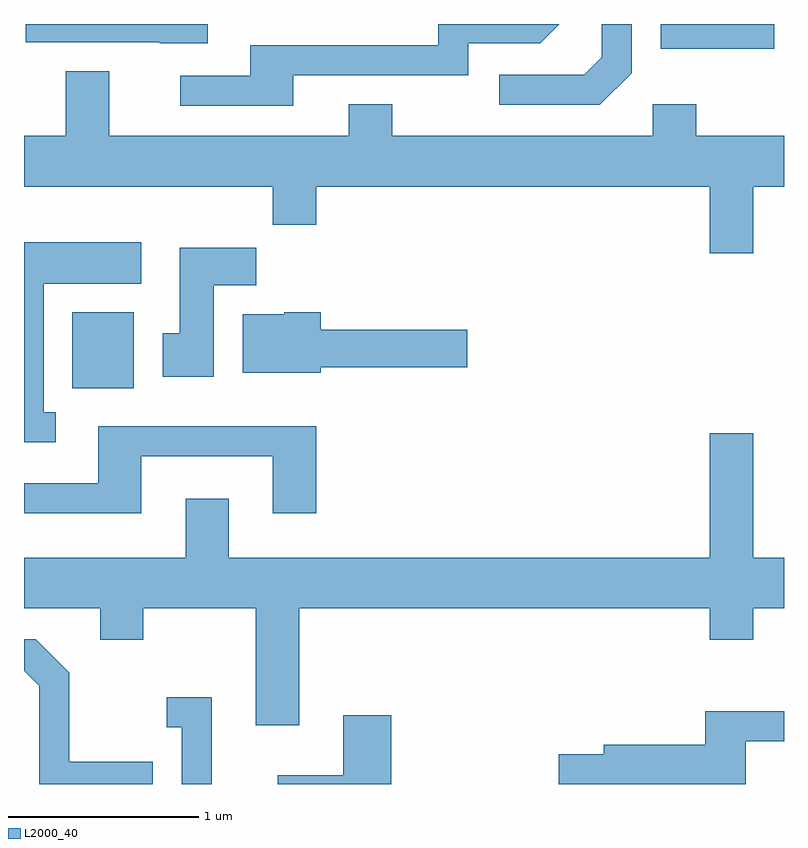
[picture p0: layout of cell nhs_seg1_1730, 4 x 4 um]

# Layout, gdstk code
import gdstk
lib = gdstk.Library(unit=1e-6, precision=1e-09)
def R(c, l, rs):  # rectangles x0, y0, x1, y1
    for r in rs: c.add(gdstk.rectangle(r[:2], r[2:], *l))
def P(c, l, *ps):  # polygons
    for p in ps: c.add(gdstk.Polygon(p, *l))
L2000_40 = (2000, 40)

nhs_seg1_1730 = lib.new_cell('nhs_seg1_1730')
R(nhs_seg1_1730, L2000_40, [(237.866,951.796,238.189,952.194), (240.961,953.581,241.559,953.712)])
P(nhs_seg1_1730, L2000_40, [(240.809,953.454),(240.809,953.712),(240.651,953.712),(240.651,953.537),(240.559,953.444),(240.113,953.444),(240.113,953.286),(240.642,953.286)],
  [(239.029,953.441),(239.949,953.441),(239.949,953.611),(240.327,953.611),(240.427,953.712),(239.791,953.712),(239.791,953.599),(238.801,953.599),(238.801,953.439),(238.433,953.439),(238.433,953.281),(239.029,953.281)],
  [(238.579,953.712),(237.621,953.712),(237.621,953.616),(238.325,953.616),(238.325,953.611),(238.579,953.611)],
  [(241.449,952.856),(241.611,952.856),(241.611,953.124),(241.149,953.124),(241.149,953.289),(240.921,953.289),(240.921,953.124),(239.549,953.124),(239.549,953.289),(239.321,953.289),(239.321,953.124),(238.059,953.124),(238.059,953.464),(237.831,953.464),(237.831,953.124),(237.611,953.124),(237.611,952.856),(238.921,952.856),(238.921,952.656),(239.149,952.656),(239.149,952.856),(241.221,952.856),(241.221,952.506),(241.449,952.506)],
  [(237.778,951.669),(237.714,951.669),(237.714,952.346),(238.229,952.346),(238.229,952.564),(237.611,952.564),(237.611,951.511),(237.778,951.511)],
  [(238.609,952.336),(238.834,952.336),(238.834,952.534),(238.431,952.534),(238.431,952.084),(238.341,952.084),(238.341,951.856),(238.609,951.856)],
  [(239.174,951.906),(239.944,951.906),(239.944,952.104),(239.174,952.104),(239.174,952.194),(238.98,952.194),(238.98,952.184),(238.761,952.184),(238.761,951.876),(239.174,951.876)],
  [(238.229,951.436),(238.921,951.436),(238.921,951.136),(239.149,951.136),(239.149,951.594),(238.001,951.594),(238.001,951.294),(237.611,951.294),(237.611,951.136),(238.229,951.136)],
  [(239.059,950.636),(241.221,950.636),(241.221,950.471),(241.449,950.471),(241.449,950.636),(241.611,950.636),(241.611,950.904),(241.449,950.904),(241.449,951.559),(241.221,951.559),(241.221,950.904),(238.689,950.904),(238.689,951.214),(238.461,951.214),(238.461,950.904),(237.611,950.904),(237.611,950.636),(238.011,950.636),(238.011,950.471),(238.239,950.471),(238.239,950.636),(238.831,950.636),(238.831,950.021),(239.059,950.021)],
  [(238.289,949.829),(237.849,949.829),(237.849,950.297),(237.672,950.474),(237.611,950.474),(237.611,950.309),(237.691,950.229),(237.691,949.712),(238.289,949.712)],
  [(238.599,950.169),(238.363,950.169),(238.363,950.011),(238.441,950.011),(238.441,949.712),(238.599,949.712)],
  [(241.409,949.936),(241.611,949.936),(241.611,950.094),(241.196,950.094),(241.196,949.919),(240.661,949.919),(240.661,949.869),(240.426,949.869),(240.426,949.712),(241.409,949.712)],
  [(239.544,950.074),(239.291,950.074),(239.291,949.759),(238.946,949.759),(238.946,949.712),(239.544,949.712)])

lib.write_gds('nhs_seg1_1730.gds')
